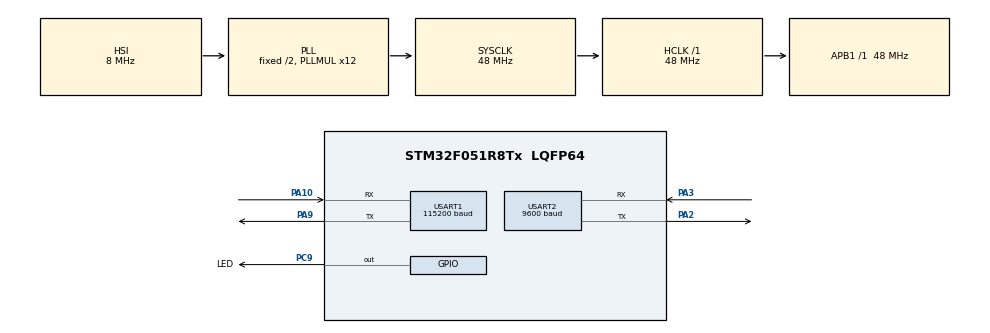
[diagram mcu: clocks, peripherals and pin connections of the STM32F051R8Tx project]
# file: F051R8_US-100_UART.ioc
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Mcu.Family=STM32F0
PA10.Mode=Asynchronous
PC9.GPIO_Label=LED
USART1.BaudRate=115200
PA14.GPIO_Label=SWCLK
NVIC.USART2_IRQn=true\:0\:0\:false\:false\:true\:true\:true
USART2.BaudRate=9600
RCC.SYSCLKSource=RCC_SYSCLKSOURCE_PLLCLK
ProjectManager.StackSize=0x400
USART1.VirtualMode-Asynchronous=VM_ASYNC
PA3.Mode=Asynchronous
PA13.Signal=SYS_SWDIO
PA9.Mode=Asynchronous
ProjectManager.TargetToolchain=STM32CubeIDE
RCC.HCLKFreq_Value=48000000
PA9.Signal=USART1_TX
RCC.AHBFreq_Value=48000000
board=STM32F0DISCOVERY
USART2.VirtualMode-Asynchronous=VM_ASYNC
RCC.PLLMUL=RCC_PLL_MUL12
PA14.Mode=Serial_Wire
PA13.Mode=Serial_Wire
Mcu.Name=STM32F051R8Tx
PA2.Signal=USART2_TX
PA13.GPIO_Label=SWDIO
RCC.SYSCLKFreq_VALUE=48000000
Mcu.Package=LQFP64
PA10.Signal=USART1_RX
PA14.Signal=SYS_SWCLK
ProjectManager.HeapSize=0x200
RCC.APB1TimFreq_Value=48000000
PA2.Mode=Asynchronous
PC9.Signal=GPIO_Output
RCC.APB1Freq_Value=48000000
PA3.Signal=USART2_RX

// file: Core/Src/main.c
/* USER CODE BEGIN Header */
/**
  ******************************************************************************
  * @file           : main.c
  * @brief          : Main program body
  ******************************************************************************
  * @attention
  *
  * <h2><center>&copy; Copyright (c) 2021 STMicroelectronics.
  * All rights reserved.</center></h2>
  *
  * This software component is licensed by ST under BSD 3-Clause license,
  * the "License"; You may not use this file except in compliance with the
  * License. You may obtain a copy of the License at:
  *                        opensource.org/licenses/BSD-3-Clause
  *
  ******************************************************************************
  */
/* USER CODE END Header */
#include "main.h"

/* USER CODE BEGIN Includes */
#include <stdio.h>
#include <string.h>
/* USER CODE END Includes */

/* USER CODE BEGIN PD */
#define TERMINAL  &huart1
#define US_100    &huart2
/* USER CODE END PD */

UART_HandleTypeDef huart1;
UART_HandleTypeDef huart2;

/* USER CODE BEGIN PV */
enum {
  IDLE,
  WAIT_DIST,
  CALC_DIST,
  WAIT_TEMP,
  CALC_TEMP
};
char state = IDLE;
char try = 0;
uint16_t value = 0;
uint8_t cmd_dist[] = {0x55};
uint8_t cmd_temp[] = {0x50};
uint8_t buffer[2] = {0};
/* USER CODE END PV */

void SystemClock_Config(void);
static void MX_GPIO_Init(void);
static void MX_USART1_UART_Init(void);
static void MX_USART2_UART_Init(void);

/* USER CODE BEGIN 0 */
int _read(int file, char *ptr, int len) {
    HAL_StatusTypeDef hstatus;
    hstatus = HAL_UART_Receive(TERMINAL, (uint8_t*) ptr, 1, HAL_MAX_DELAY);
    if (hstatus == HAL_OK)
        return 1;
    else
        return 0;
}

int _write(int file, char *ptr, int len) {
    HAL_StatusTypeDef hstatus;
    hstatus = HAL_UART_Transmit(TERMINAL, (uint8_t*) ptr, len, HAL_MAX_DELAY);
    if (hstatus == HAL_OK)
        return len;
    else
        return 0;
}

void HAL_UART_RxCpltCallback(UART_HandleTypeDef *huart)
{
  if (huart == US_100) {
    if (state == WAIT_DIST) {
      state = CALC_DIST;
    } else if (state == WAIT_TEMP) {
      state = CALC_TEMP;
    }
  }
}
/* USER CODE END 0 */

int main(void)
{

  /* MCU Configuration--------------------------------------------------------*/

  /* Reset of all peripherals, Initializes the Flash interface and the Systick. */
  HAL_Init();

  /* Configure the system clock */
  SystemClock_Config();

  /* Initialize all configured peripherals */
  MX_GPIO_Init();
  MX_USART1_UART_Init();
  MX_USART2_UART_Init();

  /* Infinite loop */
  /* USER CODE BEGIN WHILE */
  printf("US-100\n\r");
  while (1)
  {
    if (state == IDLE) {
      // send request to measure distance
      printf("D?\n\r");
      HAL_UART_Transmit(US_100, cmd_dist, 1, HAL_MAX_DELAY);
      HAL_UART_Receive_IT(US_100, buffer, 2);
      // change state
      state = WAIT_DIST;
      try = 0;
    } else if (state == CALC_DIST) {
      // calculate distance
      value = (buffer[0] << 8) + buffer[1];
      printf("D = %d mm\n\r", value);
      // send request to get temperature
      printf("T?\n\r");
      HAL_UART_Transmit(US_100, cmd_temp, 1, HAL_MAX_DELAY);
      HAL_UART_Receive_IT(US_100, buffer, 1);
      // change state
      state = WAIT_TEMP;
      try = 0;
    } else if (state == CALC_TEMP){
      // calculate temperature
      value = buffer[0] - 45;
      printf("T = %d\n\r", value);
      // change state
      state = IDLE;
      try = 0;
    }

    HAL_GPIO_TogglePin(LED_GPIO_Port, LED_Pin);
    HAL_Delay(100);

    // retry after 5 seconds
    if(++try >= 50) {
      printf("Re-try\n\r");
      state = IDLE;
    }
    /* USER CODE END WHILE */

  }
}

void SystemClock_Config(void)
{
  RCC_OscInitTypeDef RCC_OscInitStruct = {0};
  RCC_ClkInitTypeDef RCC_ClkInitStruct = {0};
  RCC_PeriphCLKInitTypeDef PeriphClkInit = {0};

  /** Initializes the RCC Oscillators according to the specified parameters
  * in the RCC_OscInitTypeDef structure.
  */
  RCC_OscInitStruct.OscillatorType = RCC_OSCILLATORTYPE_HSI;
  RCC_OscInitStruct.HSIState = RCC_HSI_ON;
  RCC_OscInitStruct.HSICalibrationValue = RCC_HSICALIBRATION_DEFAULT;
  RCC_OscInitStruct.PLL.PLLState = RCC_PLL_ON;
  RCC_OscInitStruct.PLL.PLLSource = RCC_PLLSOURCE_HSI;
  RCC_OscInitStruct.PLL.PLLMUL = RCC_PLL_MUL12;
  RCC_OscInitStruct.PLL.PREDIV = RCC_PREDIV_DIV1;
  if (HAL_RCC_OscConfig(&RCC_OscInitStruct) != HAL_OK)
  {
    Error_Handler();
  }
  /** Initializes the CPU, AHB and APB buses clocks
  */
  RCC_ClkInitStruct.ClockType = RCC_CLOCKTYPE_HCLK|RCC_CLOCKTYPE_SYSCLK
                              |RCC_CLOCKTYPE_PCLK1;
  RCC_ClkInitStruct.SYSCLKSource = RCC_SYSCLKSOURCE_PLLCLK;
  RCC_ClkInitStruct.AHBCLKDivider = RCC_SYSCLK_DIV1;
  RCC_ClkInitStruct.APB1CLKDivider = RCC_HCLK_DIV1;

  if (HAL_RCC_ClockConfig(&RCC_ClkInitStruct, FLASH_LATENCY_1) != HAL_OK)
  {
    Error_Handler();
  }
  PeriphClkInit.PeriphClockSelection = RCC_PERIPHCLK_USART1;
  PeriphClkInit.Usart1ClockSelection = RCC_USART1CLKSOURCE_PCLK1;
  if (HAL_RCCEx_PeriphCLKConfig(&PeriphClkInit) != HAL_OK)
  {
    Error_Handler();
  }
}

static void MX_USART1_UART_Init(void)
{

  huart1.Instance = USART1;
  huart1.Init.BaudRate = 115200;
  huart1.Init.WordLength = UART_WORDLENGTH_8B;
  huart1.Init.StopBits = UART_STOPBITS_1;
  huart1.Init.Parity = UART_PARITY_NONE;
  huart1.Init.Mode = UART_MODE_TX_RX;
  huart1.Init.HwFlowCtl = UART_HWCONTROL_NONE;
  huart1.Init.OverSampling = UART_OVERSAMPLING_16;
  huart1.Init.OneBitSampling = UART_ONE_BIT_SAMPLE_DISABLE;
  huart1.AdvancedInit.AdvFeatureInit = UART_ADVFEATURE_NO_INIT;
  if (HAL_UART_Init(&huart1) != HAL_OK)
  {
    Error_Handler();
  }

}

static void MX_USART2_UART_Init(void)
{

  huart2.Instance = USART2;
  huart2.Init.BaudRate = 9600;
  huart2.Init.WordLength = UART_WORDLENGTH_8B;
  huart2.Init.StopBits = UART_STOPBITS_1;
  huart2.Init.Parity = UART_PARITY_NONE;
  huart2.Init.Mode = UART_MODE_TX_RX;
  huart2.Init.HwFlowCtl = UART_HWCONTROL_NONE;
  huart2.Init.OverSampling = UART_OVERSAMPLING_16;
  huart2.Init.OneBitSampling = UART_ONE_BIT_SAMPLE_DISABLE;
  huart2.AdvancedInit.AdvFeatureInit = UART_ADVFEATURE_NO_INIT;
  if (HAL_UART_Init(&huart2) != HAL_OK)
  {
    Error_Handler();
  }

}

static void MX_GPIO_Init(void)
{
  GPIO_InitTypeDef GPIO_InitStruct = {0};

  /* GPIO Ports Clock Enable */
  __HAL_RCC_GPIOA_CLK_ENABLE();
  __HAL_RCC_GPIOC_CLK_ENABLE();

  /*Configure GPIO pin Output Level */
  HAL_GPIO_WritePin(LED_GPIO_Port, LED_Pin, GPIO_PIN_RESET);

  /*Configure GPIO pin : LED_Pin */
  GPIO_InitStruct.Pin = LED_Pin;
  GPIO_InitStruct.Mode = GPIO_MODE_OUTPUT_PP;
  GPIO_InitStruct.Pull = GPIO_NOPULL;
  GPIO_InitStruct.Speed = GPIO_SPEED_FREQ_LOW;
  HAL_GPIO_Init(LED_GPIO_Port, &GPIO_InitStruct);

}

void Error_Handler(void)
{
  __disable_irq();
  while (1)
  {
  }
}

/************************ (C) COPYRIGHT STMicroelectronics *****END OF FILE****/
